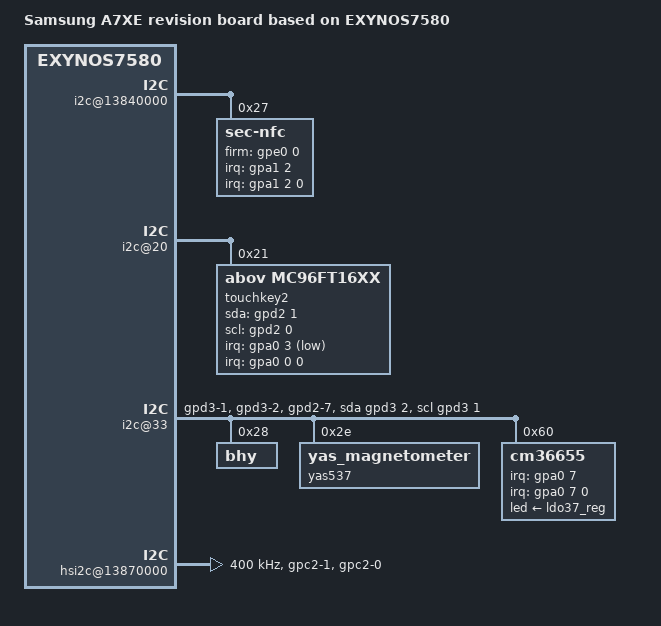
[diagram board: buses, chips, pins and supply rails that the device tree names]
/*
 * SAMSUNG A7XE board device tree source
 *
 * Copyright (c) 2014 Samsung Electronics Co., Ltd.
 *		http://www.samsung.com
 *
 * This program is free software; you can redistribute it and/or modify
 * it under the terms of the GNU General Public License version 2 as
 * published by the Free Software Foundation.
 */

/dts-v1/;
#include "exynos7580-reserve-3000MB-Ax.dtsi"
#include "exynos7580-a7xelte_common.dtsi"
#include "modem-carmen2-reserve-3000MB.dtsi"
#include "exynos7580-a7xelte_battery_03.dtsi"
#include "exynos7580-a7xelte_eur_open_gpio_03.dtsi"
#include "exynos7580-a7xelte_fingerprint-sensor_00.dtsi"
#include "exynos7580-a7xelte_mst_00.dtsi"

/ {
	model = "Samsung A7XE revision board based on EXYNOS7580";
	model_info-chip = <7580>;
	model_info-platform = "android";
	model_info-subtype = "samsung";
	model_info-hw_rev = <3>;
	model_info-hw_rev_end = <7>;
	compatible = "samsung,exynos7580-universal7580,r01", "samsung,exynos7580";

	pinctrl@139B0000 {
		pmic_irq: pmic-irq {
			samsung,pins = "gpa0-2";
			samsung,pin-pud = <3>;
			samsung,pin-drv = <3>;
		};
		cod3022_irq: cod3022-irq {
			samsung,pins = "gpa0-4";
			samsung,pin-pud = <3>;
			samsung,pin-drv = <3>;
		};
		if_irq: if-irq {
			samsung,pins = "gpa0-5";
			samsung,pin-pud = <3>;
			samsung,pin-drv = <3>;
		};
		ps_als: ps_als {
			samsung,pins = "gpa0-7";
			samsung,pin-function = <0x0>;
			samsung,pin-pud = <0>;
			samsung,pin-drv = <0>;
		};
		muic_irq: muic-irq {
			samsung,pins = "gpa1-3";
			samsung,pin-pud = <0>;
			samsung,pin-drv = <0>;
		};
		sub_det: sub-det {
			samsung,pins = "gpa1-7";
			samsung,pin-function = <0>;
			samsung,pin-pud = <0>;
			samsung,pin-drv = <0>;
		};
		bhy_int: bhy-int {
			samsung,pins = "gpa3-0";
			samsung,pin-function = <0>;
			samsung,pin-pud = <1>;
			samsung,pin-drv = <0>;
		};
		dwmmc2_cd_ext_irq: dwmmc2_cd_ext_irq {
			samsung,pins = "gpa3-1";
			samsung,pin-function = <0xf>;
			samsung,pin-pud = <0>;
			samsung,pin-drv = <0>;
		};
		gpiodetect_irq: gpiodetect-irq {
			samsung,pins = "gpa3-4";
			samsung,pin-function = <0>;
			samsung,pin-pud = <0>;
			samsung,pin-drv = <0>;
		};
		certify_hall_irq: certify-hall-irq {
			samsung,pins = "gpa3-5";
			samsung,pin-function = <0xf>;
			samsung,pin-pud = <0>;
			samsung,pin-drv = <0>;
		};
		hall_irq: hall_irq {
			samsung,pins = "gpa3-6";
			samsung,pin-function = <0xf>;
			samsung,pin-pud = <0>;
			samsung,pin-drv = <0>;
		};
	};

	pinctrl@139C0000 {
		optical: optical {
			samsung,pins = "gpd3-1", "gpd3-2";
			samsung,pin-function = <0>;
			samsung,pin-pud = <0>;
			samsung,pin-drv = <0>;
		};
		/* Warm reset information from AP */
		pm_wrsti: pm-wrsti {
			samsung,pins = "gpe1-0";
			samsung,pin-con-pdn = <3>;
		};
		spk_amp_i2c: spk-amp-i2c {
			samsung,pins = "gpc2-1", "gpc2-0";
			samsung,pin-function = <2>;
			samsung,pin-pud = <0>;
		};
	};

	i2c@13840000 {
		status = "okay";
		samsung,i2c-sda-delay = <100>;
		samsung,i2c-max-bus-freq = <300000>;
		sec-nfc@27 {
			compatible = "sec-nfc";
			reg = <0x27>;
			interrupts = <2 0 0>;
			interrupt-parent = <&gpa1>;
			sec-nfc,nfc_pd = <&gpc3 2 0x2>;
			sec-nfc,firm-gpio = <&gpe0 0 0>;
			sec-nfc,irq-gpio = <&gpa1 2 0>;
			clkctrl-reg = <0x1046600C>;
			sec-nfc,nfc_clkreq = <&gpc3 3 0x2>;
			sec-nfc,i2c_1p8 = "ldo39";
			pinctrl-names = "default";
			pinctrl-0 = <&nfc_n5_firm &nfc_n5_clk_req &nfc_pd &nfc_int &ese_pwr_en>;
		};
	};

	i2c@20 {
		touchkey2@21 {
			compatible = "abov,mc96ft16xx";
			status = "okay";
			pinctrl-names = "on_irq","off_irq","sub_det";
			pinctrl-0 = <&cfg_irq>;
			pinctrl-1 = <&cfg_input>;
			pinctrl-2 = <&sub_det>;
			reg = <0x21>;
			interrupts = <0 0 0>;
			interrupt-parent = <&gpa0>;
			abov,sda-gpio = <&gpd2 1 0>;
			abov,scl-gpio = <&gpd2 0 0>;
			abov,irq-gpio = <&gpa0 3 1>;
			abov,sub-det = <&gpa1 7 0>;
			abov,fw_path = "abov/abov_ft1604_a7.fw";
			abov,boot-on-ldo = "true";
		};
	};

	i2c@33 {
		compatible = "i2c-gpio";
		gpios = <&gpd3 2 0	/* sda */
			&gpd3 1 0>;	/* scl */

		pinctrl-names = "default";
		pinctrl-0 = <&optical &sensor_pwr_en>;
		i2c-gpio,delay-us = <2>;
		i2c-gpio,scl-output-only;
		#address-cells = <1>;
		#size-cells = <0>;
		status = "okay";

		bhy@28 {
			compatible = "bhy";
			pinctrl-names = "default";
			pinctrl-0 = <&bhy_int>;
			bhy,gpio_irq = <&gpa3 0 0x00>;
			bhy,ldo_enable = <&gpd2 7 0x01>;
			reg = <0x28>;
		};

		yas537@2e {
			compatible = "yas_magnetometer";
			reg = <0x2e>;
			yas,orientation = <1>;
			yas,softiron = <10000 0 0 0 10000 0 0 0 10000>;
			yas,softiron_sign = <2 2 0 0 2 0 0 0 2>;
		};

		cm36655@60 {
			compatible = "cm36655";
			reg = <0x60>;
			pinctrl-names = "dafault";
			pinctrl-0 = <&ps_als &leden_gpio>;
			interrupt-parent = <&gpa0>;
			interrupts = <7 0 0>;
			cm36655,led-supply = <&ldo37_reg>;
			cm36655,irq_gpio = <&gpa0 7 0x00>;
			cm36655,pwr_en = <&gpd2 3 0x01>;
			cm36655,default_hi_thd = <18>;
			cm36655,default_low_thd = <13>;
			cm36655,cancel_hi_thd = <10>;
			cm36655,cancel_low_thd = <7>;
			cm36655,trim = <0x0003>;
		};
	};

	hsi2c@13870000 {
		status = "okay";
		/*samsung,hs-mode;*/
		clock-frequency = <400000>;
		#address-cells = <1>;
		#size-cells = <0>;
		pinctrl-names = "default";
		pinctrl-0 = <&spk_amp_i2c>;
	};

	pinctrl@139B0000 {
		bt_enable: bt_enable {
			samsung,pins = "gpa1-6";
			samsung,pin-function = <1>;
			samsung,pin-pud = <0>;
		};
	};

	pinctrl@139C0000 {
		uart0_rts: uart0-rts {
			samsung,pins = "gpb0-7";
			samsung,pin-function = <2>;
			samsung,pin-pud = <1>;
			samsung,pin-con-pdn = <3>;
			samsung,pin-pud-pdn = <1>;
		};

		uart0_cts: uart0-cts {
			samsung,pins = "gpb0-6";
			samsung,pin-function = <2>;
			samsung,pin-pud = <1>;
			samsung,pin-con-pdn = <3>;
			samsung,pin-pud-pdn = <1>;
		};

		uart0_tx: uart0-tx {
			samsung,pins = "gpb0-5";
			samsung,pin-function = <2>;
			samsung,pin-pud = <3>;
			samsung,pin-con-pdn = <3>;
			samsung,pin-pud-pdn = <3>;
		};

		uart0_rx: uart0-rx {
			samsung,pins = "gpb0-4";
			samsung,pin-function = <2>;
			samsung,pin-pud = <3>;
			samsung,pin-con-pdn = <3>;
			samsung,pin-pud-pdn = <3>;
		};
	};

	mif_pdata {
		pinctrl-names = "default";
		pinctrl-0 = <&cp_rst_n &ds_det>;

		/* To do: will be remove, for system revision */
		gpios = <&gpd0 0 0x0>,
		       <&gpd0 1 0x0>,
		       <&gpd0 2 0x0>,
		       <&gpd0 3 0x0>;

		modem_ctrl,gpio_cp_rst_n = <&gpe0 6 0x1>;
		mif,gpio_ds_det = <&gpd0 4 0x0>;

		mif,ap_clk_table = <
			/* khz */
			1600000
			1500000
			1400000
			1300000
			1200000
			1100000
			1000000
			900000
			800000
			700000
			600000
			500000
			400000
			300000
			>;

		mif,mif_clk_table = <
			/* khz */
			825000
			728000
			667000
			559000
			416000
			338000
			273000
			200000
			>;
	};

	pinctrl@139C0000 {
		ds_det: ds_det {
			samsung,pins = "gpd0-4";
			samsung,pin-function = <0>;	/* INPUT */
			samsung,pin-pud = <0>;
			samsung,pin-con-pdn = <3>;	/* PREV STATE */
			samsung,pin-pud-pdn = <0>;
		};

		cp_rst_n: cp_rst_n {
			samsung,pins = "gpe0-6";
			samsung,pin-function = <1>;	/* OUTPUT */
			samsung,pin-pud = <0>;		/* PU & PD DISABLE */
			samsung,pin-con-pdn = <1>;	/* OUTPUT 1 */
			samsung,pin-pud-pdn = <0>;	/* PU & PD DISABLE */
		};

		leden_gpio: leden_gpio {
			samsung,pins = "gpd2-3";
			samsung,pin-function = <1>;
			samsung,pin-pud = <0>;
			samsung,pin-val = <1>;
		};

		sensor_pwr_en: sensor_pwr_en {
			samsung,pins = "gpd2-7";
			samsung,pin-function = <1>;
			samsung,pin-pud = <3>;
			samsung,pin-drv = <0>;
			samsung,pin-val = <1>;
		};
	};
};
